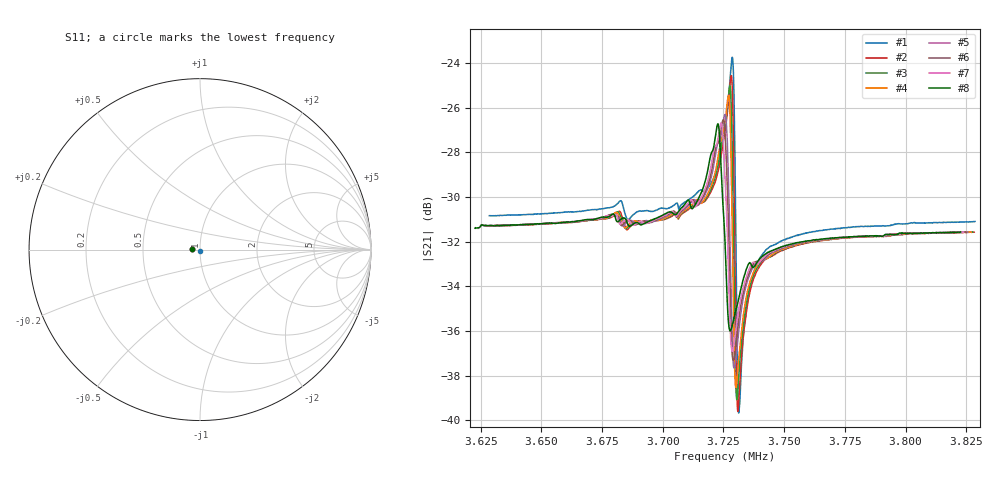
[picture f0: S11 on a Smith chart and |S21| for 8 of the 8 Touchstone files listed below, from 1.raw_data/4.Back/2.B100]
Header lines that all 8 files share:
# Hz S dB R 50.000
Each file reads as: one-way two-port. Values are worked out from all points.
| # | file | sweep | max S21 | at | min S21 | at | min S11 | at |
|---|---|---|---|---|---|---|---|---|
| 1 | B100_20C.s2p | 3.629 MHz to 3.829 MHz | -23.74 dB | 3.729 MHz | -39.7 dB | 3.731 MHz | -43.9 dB | 3.689 MHz |
| 2 | B100_25C.s2p | 3.628 MHz to 3.828 MHz | -24.56 dB | 3.728 MHz | -39.6 dB | 3.731 MHz | -26.8 dB | 3.827 MHz |
| 3 | B100_30C.s2p | 3.628 MHz to 3.828 MHz | -25.01 dB | 3.728 MHz | -39.1 dB | 3.73 MHz | -26.8 dB | 3.826 MHz |
| 4 | B100_35C.s2p | 3.627 MHz to 3.827 MHz | -25.44 dB | 3.727 MHz | -38.5 dB | 3.73 MHz | -26.8 dB | 3.822 MHz |
| 5 | B100_45C.s2p | 3.626 MHz to 3.826 MHz | -26.30 dB | 3.726 MHz | -37.6 dB | 3.729 MHz | -26.8 dB | 3.825 MHz |
| 6 | B100_50C.s2p | 3.625 MHz to 3.825 MHz | -26.53 dB | 3.725 MHz | -37.3 dB | 3.729 MHz | -26.8 dB | 3.823 MHz |
| 7 | B100_55C.s2p | 3.624 MHz to 3.824 MHz | -26.68 dB | 3.724 MHz | -36.9 dB | 3.729 MHz | -26.8 dB | 3.823 MHz |
| 8 | B100_65C.s2p | 3.623 MHz to 3.823 MHz | -26.72 dB | 3.723 MHz | -36.0 dB | 3.728 MHz | -26.8 dB | 3.805 MHz |
